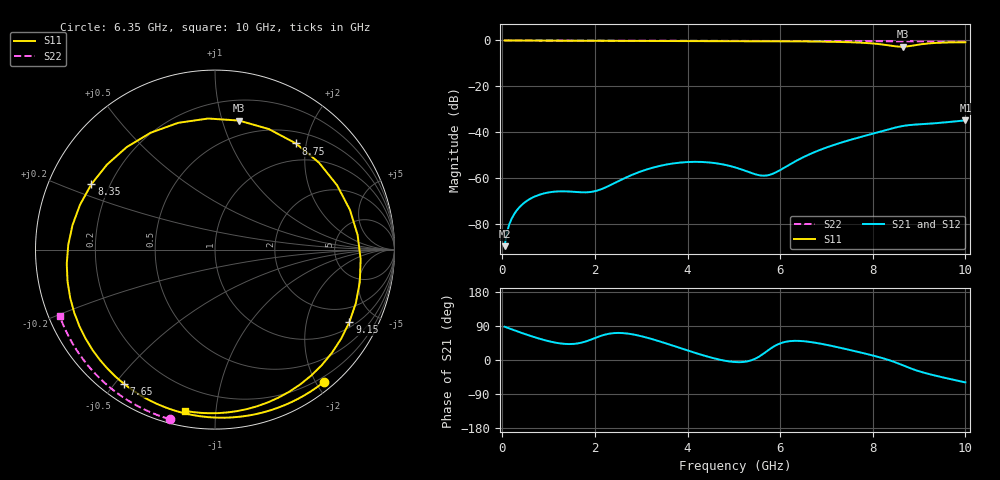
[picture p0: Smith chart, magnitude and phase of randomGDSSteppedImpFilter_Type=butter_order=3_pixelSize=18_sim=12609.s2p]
! freq	dB(S11)	phase(S11)	dB(S12)	phase(S12)
!  dB(S21)	phase(S21)	dB(S22)	phase(S22)
!S-par simulation data
#  GHz  S  DB  R 50
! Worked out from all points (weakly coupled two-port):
!   200 points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, 50 MHz to 10 GHz, reference 50 ohm
!   highest |S21| = -34.84 dB at 10 GHz (marker M1); lowest = -89.7 dB at 50 MHz (marker M2)
!   lowest |S11| = -2.7 dB at 8.65 GHz (marker M3), VSWR 6.44, Z = 18.3 + j56.7 ohm
!   |S11| at or under -10 dB: nowhere
!   |S22| runs from -0.5 to 0.0 dB; largest |S21 - S12| = 0
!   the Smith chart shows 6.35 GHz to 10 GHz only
!   S11 on the Smith chart (normalised r, x): 6.35 GHz: 0.12, -2.11; 7.65 GHz: 0.06, -0.53; 8.35 GHz: 0.13, +0.24; 8.75 GHz: 0.69, +1.82; 9.15 GHz: 1.22, -3.57; 10 GHz: 0.08, -0.83
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0.05  -0.00 -3.7  -89.70 87.8  -89.70 87.8  -0.00 -0.9
0.5  -0.05 -36.1  -70.39 68.0  -70.39 68.0  -0.01 -9.1
0.95  -0.09 -68.1  -66.46 51.2  -66.46 51.2  -0.02 -17.2
1.35  -0.12 -96.0  -65.80 42.5  -65.80 42.5  -0.03 -24.3
1.75  -0.15 -123.4  -66.23 47.0  -66.23 47.0  -0.04 -31.3
2.55  -0.20 -177.7  -60.93 71.4  -60.93 71.4  -0.06 -45.2
3.4  -0.24 124.7  -54.71 49.1  -54.71 49.1  -0.08 -59.4
4.15  -0.27 74.8  -52.93 19.4  -52.93 19.4  -0.10 -71.6
5.05  -0.30 19.0  -55.49 -5.5  -55.49 -5.5  -0.13 -85.6
5.7  -0.33 -17.2  -58.90 22.0  -58.90 22.0  -0.16 -95.4
6.35  -0.40 -50.7  -52.47 50.6  -52.47 50.6  -0.19 -105.0
6.7  -0.46 -68.4  -49.06 46.7  -49.06 46.7  -0.22 -110.1
7.2  -0.61 -95.1  -45.30 34.9  -45.30 34.9  -0.25 -117.2
7.65  -0.88 -124.1  -42.58 22.3  -42.58 22.3  -0.28 -123.6
8.1  -1.51 -167.7  -40.09 8.7  -40.09 8.7  -0.32 -129.9
8.35  -2.17 152.1  -38.70 -0.2  -38.70 -0.2  -0.34 -133.4
8.65  -2.72 79.5  -37.29 -14.0  -37.29 -14.0  -0.37 -137.6
8.75  -2.57 52.7  -37.00 -18.9  -37.00 -18.9  -0.38 -139.0
8.95  -1.95 5.9  -36.64 -27.8  -36.64 -27.8  -0.40 -141.8
9.15  -1.41 -28.3  -36.39 -35.0  -36.39 -35.0  -0.42 -144.6
9.5  -0.94 -66.9  -35.84 -45.5  -35.84 -45.5  -0.47 -149.5
10  -0.78 -100.4  -34.84 -59.1  -34.84 -59.1  -0.53 -156.7
